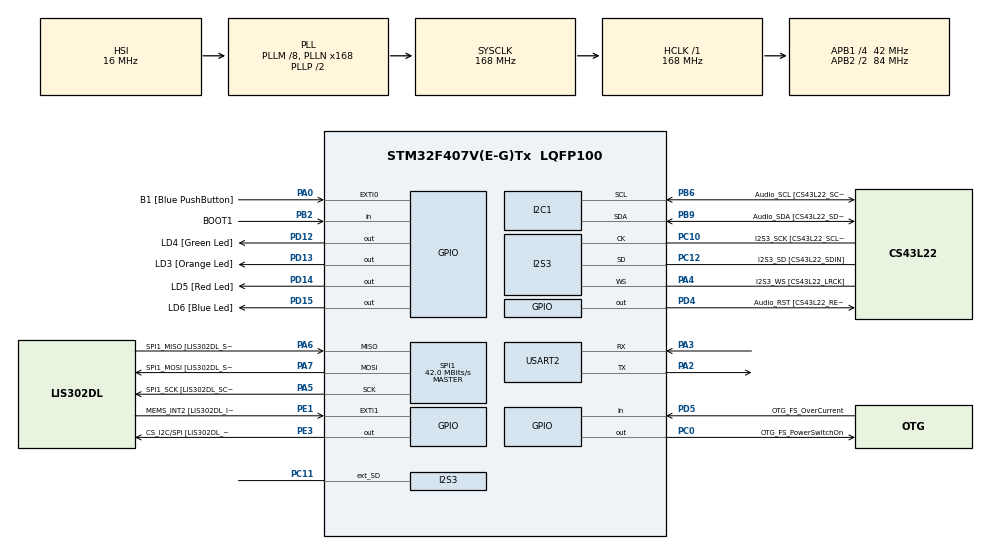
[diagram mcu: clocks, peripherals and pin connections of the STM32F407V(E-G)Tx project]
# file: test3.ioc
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I2S3.ErrorAudioFreq=0.15 %
I2S3.FullDuplexMode=I2S_FULLDUPLEXMODE_ENABLE
I2S3.Instance=SPI$Index
I2S3.RealAudioFreq=8.012 KHz
I2S3.VirtualMode=I2S_MODE_MASTER
Mcu.Family=STM32F4
Mcu.Name=STM32F407V(E-G)Tx
Mcu.Package=LQFP100
NVIC.PriorityGroup=NVIC_PRIORITYGROUP_0
NVIC.RCC_IRQn=true\:0\:0\:false\:false\:true\:true
PA0-WKUP.GPIO_Label=B1 [Blue PushButton]
PA0-WKUP.Signal=GPXTI0
PA10.GPIO_Label=OTG_FS_ID
PA10.GPIO_Mode=GPIO_MODE_AF_PP
PA10.GPIO_PuPd=GPIO_NOPULL
PA10.GPIO_Speed=GPIO_SPEED_FREQ_LOW
PA10.Signal=USB_OTG_FS_ID
PA11.GPIO_Label=OTG_FS_DM
PA11.GPIO_Mode=GPIO_MODE_AF_PP
PA11.GPIO_PuPd=GPIO_NOPULL
PA11.GPIO_Speed=GPIO_SPEED_FREQ_LOW
PA11.Signal=USB_OTG_FS_DM
PA12.GPIO_Label=OTG_FS_DP
PA12.GPIO_Mode=GPIO_MODE_AF_PP
PA12.GPIO_PuPd=GPIO_NOPULL
PA12.GPIO_Speed=GPIO_SPEED_FREQ_LOW
PA12.Signal=USB_OTG_FS_DP
PA13.GPIO_Label=SWDIO
PA13.Signal=SYS_JTMS-SWDIO
PA14.GPIO_Label=SWCLK
PA14.Signal=SYS_JTCK-SWCLK
PA2.Mode=Asynchronous
PA2.Signal=USART2_TX
PA3.Mode=Asynchronous
PA3.Signal=USART2_RX
PA4.GPIO_Label=I2S3_WS [CS43L22_LRCK]
PA4.GPIO_Mode=GPIO_MODE_AF_PP
PA4.GPIO_PuPd=GPIO_NOPULL
PA4.GPIO_Speed=GPIO_SPEED_FREQ_LOW
PA4.Mode=Full_Duplex_Master
PA4.Signal=I2S3_WS
PA5.GPIO_Label=SPI1_SCK [LIS302DL_SCL/SPC]
PA5.GPIO_Mode=GPIO_MODE_AF_PP
PA5.GPIO_PuPd=GPIO_NOPULL
PA5.GPIO_Speed=GPIO_SPEED_FREQ_LOW
PA5.Mode=Full_Duplex_Master
PA5.Signal=SPI1_SCK
PA6.GPIO_Label=SPI1_MISO [LIS302DL_SDO]
PA6.GPIO_Mode=GPIO_MODE_AF_PP
PA6.GPIO_PuPd=GPIO_NOPULL
PA6.GPIO_Speed=GPIO_SPEED_FREQ_LOW
PA6.Mode=Full_Duplex_Master
PA6.Signal=SPI1_MISO
PA7.GPIO_Label=SPI1_MOSI [LIS302DL_SDA/SDI/SDO]
PA7.GPIO_Mode=GPIO_MODE_AF_PP
PA7.GPIO_PuPd=GPIO_NOPULL
PA7.GPIO_Speed=GPIO_SPEED_FREQ_LOW
PA7.Mode=Full_Duplex_Master
PA7.Signal=SPI1_MOSI
PA9.GPIO_Label=VBUS_FS
PA9.GPIO_Mode=GPIO_MODE_INPUT
PA9.GPIO_PuPd=GPIO_NOPULL
PA9.Signal=USB_OTG_FS_VBUS
PB10.GPIO_Label=CLK_IN [MP45DT02_CLK]
PB10.GPIO_Mode=GPIO_MODE_AF_PP
PB10.GPIO_PuPd=GPIO_NOPULL
PB10.GPIO_Speed=GPIO_SPEED_FREQ_LOW
PB10.Signal=I2S2_CK
PB2.GPIO_Label=BOOT1
PB2.GPIO_Mode=GPIO_MODE_INPUT
PB2.GPIO_PuPd=GPIO_NOPULL
PB2.Signal=GPIO_Input
PB3.GPIO_Label=SWO
PB3.Signal=SYS_JTDO-SWO
PB6.GPIO_Label=Audio_SCL [CS43L22_SCL]
PB6.GPIO_Mode=GPIO_MODE_AF_OD
PB6.GPIO_PuPd=GPIO_NOPULL
PB6.GPIO_Speed=GPIO_SPEED_FREQ_LOW
PB6.Mode=I2C
PB6.Signal=I2C1_SCL
PB9.GPIO_Label=Audio_SDA [CS43L22_SDA]
PB9.GPIO_Mode=GPIO_MODE_AF_OD
PB9.GPIO_PuPd=GPIO_NOPULL
PB9.GPIO_Speed=GPIO_SPEED_FREQ_LOW
PB9.Mode=I2C
PB9.Signal=I2C1_SDA
PC0.GPIO_Label=OTG_FS_PowerSwitchOn
PC0.GPIO_PuPd=GPIO_NOPULL
PC0.GPIO_Speed=GPIO_SPEED_FREQ_LOW
PC0.PinState=GPIO_PIN_SET
PC0.Signal=GPIO_Output
PC10.GPIO_Label=I2S3_SCK [CS43L22_SCLK]
PC10.GPIO_Mode=GPIO_MODE_AF_PP
PC10.GPIO_PuPd=GPIO_NOPULL
PC10.GPIO_Speed=GPIO_SPEED_FREQ_LOW
PC10.Mode=Full_Duplex_Master
PC10.Signal=I2S3_CK
PC11.Mode=Full_Duplex_Master
PC11.Signal=I2S3_ext_SD
PC12.GPIO_Label=I2S3_SD [CS43L22_SDIN]
PC12.GPIO_Mode=GPIO_MODE_AF_PP
PC12.GPIO_PuPd=GPIO_NOPULL
PC12.GPIO_Speed=GPIO_SPEED_FREQ_LOW
PC12.Mode=Full_Duplex_Master
PC12.Signal=I2S3_SD
PC14-OSC32_IN.GPIO_Label=PC14-OSC32_IN
PC14-OSC32_IN.Signal=RCC_OSC32_IN
PC15-OSC32_OUT.GPIO_Label=PC15-OSC32_OUT
PC15-OSC32_OUT.Signal=RCC_OSC32_OUT
PC3.GPIO_Label=PDM_OUT [MP45DT02_DOUT]
PC3.GPIO_Mode=GPIO_MODE_AF_PP
PC3.GPIO_PuPd=GPIO_NOPULL
PC3.GPIO_Speed=GPIO_SPEED_FREQ_LOW
PC3.Signal=I2S2_SD
PC7.GPIO_Label=I2S3_MCK [CS43L22_MCLK]
PC7.GPIO_Mode=GPIO_MODE_AF_PP
PC7.GPIO_PuPd=GPIO_NOPULL
PC7.GPIO_Speed=GPIO_SPEED_FREQ_LOW
PC7.Signal=I2S3_MCK
PD12.GPIO_Label=LD4 [Green Led]
PD12.GPIO_PuPd=GPIO_NOPULL
PD12.GPIO_Speed=GPIO_SPEED_FREQ_LOW
PD12.Signal=GPIO_Output
PD13.GPIO_Label=LD3 [Orange Led]
PD13.GPIO_PuPd=GPIO_NOPULL
PD13.GPIO_Speed=GPIO_SPEED_FREQ_LOW
PD13.Signal=GPIO_Output
PD14.GPIO_Label=LD5 [Red Led]
PD14.GPIO_PuPd=GPIO_NOPULL
PD14.GPIO_Speed=GPIO_SPEED_FREQ_LOW
PD14.Signal=GPIO_Output
PD15.GPIO_Label=LD6 [Blue Led]
PD15.GPIO_PuPd=GPIO_NOPULL
PD15.GPIO_Speed=GPIO_SPEED_FREQ_LOW
PD15.Signal=GPIO_Output
PD4.GPIO_Label=Audio_RST [CS43L22_RESET]
PD4.GPIO_PuPd=GPIO_NOPULL
PD4.GPIO_Speed=GPIO_SPEED_FREQ_LOW
PD4.Signal=GPIO_Output
PD5.GPIO_Label=OTG_FS_OverCurrent
PD5.GPIO_Mode=GPIO_MODE_INPUT
PD5.GPIO_PuPd=GPIO_NOPULL
PD5.Signal=GPIO_Input
PE1.GPIO_Label=MEMS_INT2 [LIS302DL_INT2]
PE1.GPIO_ModeDefaultEXTI=GPIO_MODE_EVT_RISING
PE1.GPIO_PuPd=GPIO_NOPULL
PE1.Signal=GPXTI1
PE3.GPIO_Label=CS_I2C/SPI [LIS302DL_CS_I2C/SPI]
PE3.GPIO_PuPd=GPIO_NOPULL
PE3.GPIO_Speed=GPIO_SPEED_FREQ_LOW
PE3.Signal=GPIO_Output
PH0-OSC_IN.GPIO_Label=PH0-OSC_IN
PH0-OSC_IN.Signal=RCC_OSC_IN
PH1-OSC_OUT.GPIO_Label=PH1-OSC_OUT
PH1-OSC_OUT.Signal=RCC_OSC_OUT
ProjectManager.HeapSize=0x200
ProjectManager.StackSize=0x400
ProjectManager.TargetToolchain=SW4STM32
RCC.48MHZClocksFreq_Value=48000000
RCC.AHBFreq_Value=168000000
RCC.APB1CLKDivider=RCC_HCLK_DIV4
RCC.APB1Freq_Value=42000000
RCC.APB1TimFreq_Value=84000000
RCC.APB2CLKDivider=RCC_HCLK_DIV2
RCC.APB2Freq_Value=84000000
RCC.APB2TimFreq_Value=168000000
RCC.CortexFreq_Value=168000000
RCC.HCLKFreq_Value=168000000
RCC.HSE_VALUE=8000000
RCC.HSI_VALUE=16000000
RCC.LSE_VALUE=32768
RCC.PLLI2SN=50
RCC.PLLM=8
RCC.PLLN=168
RCC.PLLQ=7
RCC.SYSCLKFreq_VALUE=168000000
RCC.SYSCLKSource=RCC_SYSCLKSOURCE_PLLCLK
RCC.VCOOutputFreq_Value=336000000
SPI1.CalculateBaudRate=42.0 MBits/s
SPI1.Direction=SPI_DIRECTION_2LINES
SPI1.Mode=SPI_MODE_MASTER
SPI1.VirtualType=VM_MASTER
USART2.VirtualMode=VM_ASYNC
board=STM32F4DISCOVERY

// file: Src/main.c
/**
  ******************************************************************************
  * File Name          : main.c
  * Description        : Main program body
  ******************************************************************************
  ** This notice applies to any and all portions of this file
  * that are not between comment pairs USER CODE BEGIN and
  * USER CODE END. Other portions of this file, whether
  * inserted by the user or by software development tools
  * are owned by their respective copyright owners.
  *
  * COPYRIGHT(c) 2017 STMicroelectronics
  *
  * Redistribution and use in source and binary forms, with or without modification,
  * are permitted provided that the following conditions are met:
  *   1. Redistributions of source code must retain the above copyright notice,
  *      this list of conditions and the following disclaimer.
  *   2. Redistributions in binary form must reproduce the above copyright notice,
  *      this list of conditions and the following disclaimer in the documentation
  *      and/or other materials provided with the distribution.
  *   3. Neither the name of STMicroelectronics nor the names of its contributors
  *      may be used to endorse or promote products derived from this software
  *      without specific prior written permission.
  *
  * THIS SOFTWARE IS PROVIDED BY THE COPYRIGHT HOLDERS AND CONTRIBUTORS "AS IS"
  * AND ANY EXPRESS OR IMPLIED WARRANTIES, INCLUDING, BUT NOT LIMITED TO, THE
  * IMPLIED WARRANTIES OF MERCHANTABILITY AND FITNESS FOR A PARTICULAR PURPOSE ARE
  * DISCLAIMED. IN NO EVENT SHALL THE COPYRIGHT HOLDER OR CONTRIBUTORS BE LIABLE
  * FOR ANY DIRECT, INDIRECT, INCIDENTAL, SPECIAL, EXEMPLARY, OR CONSEQUENTIAL
  * DAMAGES (INCLUDING, BUT NOT LIMITED TO, PROCUREMENT OF SUBSTITUTE GOODS OR
  * SERVICES; LOSS OF USE, DATA, OR PROFITS; OR BUSINESS INTERRUPTION) HOWEVER
  * CAUSED AND ON ANY THEORY OF LIABILITY, WHETHER IN CONTRACT, STRICT LIABILITY,
  * OR TORT (INCLUDING NEGLIGENCE OR OTHERWISE) ARISING IN ANY WAY OUT OF THE USE
  * OF THIS SOFTWARE, EVEN IF ADVISED OF THE POSSIBILITY OF SUCH DAMAGE.
  *
  ******************************************************************************
  */

#include "main.h"
#include "stm32f4xx_hal.h"
#include "stm32f4_discovery_accelerometer.h"
#include "string.h"

I2C_HandleTypeDef hi2c1;

I2S_HandleTypeDef hi2s3;

SPI_HandleTypeDef hspi1;

UART_HandleTypeDef huart2;

/* USER CODE BEGIN PV */
/* Private variables ---------------------------------------------------------*/

/* USER CODE END PV */

void SystemClock_Config(void);
static void MX_GPIO_Init(void);
static void MX_USART2_UART_Init(void);
static void MX_SPI1_Init(void);
static void MX_I2C1_Init(void);
static void MX_I2S3_Init(void);

/* USER CODE BEGIN PFP */
/* Private function prototypes -----------------------------------------------*/

/* USER CODE END PFP */

/* USER CODE BEGIN 0 */
uint8_t cnt = 0 ;

/* USER CODE END 0 */

int main(void)
{

  /* USER CODE BEGIN 1 */
	int16_t xyz[3]= {0};
  /* USER CODE END 1 */

  /* MCU Configuration----------------------------------------------------------*/

  /* Reset of all peripherals, Initializes the Flash interface and the Systick. */
  HAL_Init();

  /* Configure the system clock */
  SystemClock_Config();

  /* Initialize all configured peripherals */
  MX_GPIO_Init();
  MX_USART2_UART_Init();
  MX_SPI1_Init();
  MX_I2C1_Init();
  MX_I2S3_Init();

  /* USER CODE BEGIN 2 */
  BSP_ACCELERO_Init();
  char data[20] ;
  char wait = 'w';

  uint8_t ice ;
  uint8_t dataIn[2]="12";
  uint8_t Test[] = "one\n"; //Data to send
  uint8_t Test1[5];
  /* USER CODE END 2 */

  /* Infinite loop */
  while (1)
  {

  /* USER CODE BEGIN 3 */
	//BSP_ACCELERO_GetXYZ(&xyz);

	  BSP_ACCELERO_GetXYZ(&xyz);
	  	//"[x, y, z]"
	  sprintf(data,"[%d,%d,%d]",xyz[0],xyz[1],xyz[2]);
	  //sprintf(data,"%d",xyz[0]%10);
	  int len = strlen(data);
	  //int len = strlen(data);

	  if(cnt < 10){
	  	  HAL_UART_Transmit(&huart2,data,len,100);
	  	  cnt = cnt + 1;
	  }else{
		  if(cnt == 10){
				  HAL_UART_Transmit(&huart2,&wait,1,100);
				  cnt = 11;
		  }
		  if(HAL_UART_Receive(&huart2,dataIn,1,100)==HAL_OK){
			  	  cnt = 0;
		  }

	  }
	  //fast ORANGE
	  if(dataIn[0] == '['){
		 HAL_GPIO_TogglePin(GPIOD,GPIO_PIN_13);
		 HAL_GPIO_WritePin(GPIOD,GPIO_PIN_12,0);
		 HAL_GPIO_WritePin(GPIOD,GPIO_PIN_15,0);

	  }
	  //slow BLUE
	  else if(dataIn[0] == ']'){
		  HAL_GPIO_TogglePin(GPIOD,GPIO_PIN_15);
		  HAL_GPIO_WritePin(GPIOD,GPIO_PIN_13,0);
		  HAL_GPIO_WritePin(GPIOD,GPIO_PIN_12,0);
	  }
	  //normal GREEN
	  else {
		  HAL_GPIO_TogglePin(GPIOD,GPIO_PIN_12);
		  HAL_GPIO_WritePin(GPIOD,GPIO_PIN_15,0);
		  HAL_GPIO_WritePin(GPIOD,GPIO_PIN_13,0);
	  }

	  HAL_Delay(100);
	  //HAL_UART_Receive(&huart2,dataIn,1,1000);

//0,1,2,-1
//Normal,Quick,

  /* USER CODE END 3 */
  }
}

/** System Clock Configuration
*/
void SystemClock_Config(void)
{

  RCC_OscInitTypeDef RCC_OscInitStruct;
  RCC_ClkInitTypeDef RCC_ClkInitStruct;
  RCC_PeriphCLKInitTypeDef PeriphClkInitStruct;

    /**Configure the main internal regulator output voltage
    */
  __HAL_RCC_PWR_CLK_ENABLE();

  __HAL_PWR_VOLTAGESCALING_CONFIG(PWR_REGULATOR_VOLTAGE_SCALE1);

    /**Initializes the CPU, AHB and APB busses clocks
    */
  RCC_OscInitStruct.OscillatorType = RCC_OSCILLATORTYPE_HSI;
  RCC_OscInitStruct.HSIState = RCC_HSI_ON;
  RCC_OscInitStruct.HSICalibrationValue = 16;
  RCC_OscInitStruct.PLL.PLLState = RCC_PLL_ON;
  RCC_OscInitStruct.PLL.PLLSource = RCC_PLLSOURCE_HSI;
  RCC_OscInitStruct.PLL.PLLM = 8;
  RCC_OscInitStruct.PLL.PLLN = 168;
  RCC_OscInitStruct.PLL.PLLP = RCC_PLLP_DIV2;
  RCC_OscInitStruct.PLL.PLLQ = 7;
  if (HAL_RCC_OscConfig(&RCC_OscInitStruct) != HAL_OK)
  {
    _Error_Handler(__FILE__, __LINE__);
  }

    /**Initializes the CPU, AHB and APB busses clocks
    */
  RCC_ClkInitStruct.ClockType = RCC_CLOCKTYPE_HCLK|RCC_CLOCKTYPE_SYSCLK
                              |RCC_CLOCKTYPE_PCLK1|RCC_CLOCKTYPE_PCLK2;
  RCC_ClkInitStruct.SYSCLKSource = RCC_SYSCLKSOURCE_PLLCLK;
  RCC_ClkInitStruct.AHBCLKDivider = RCC_SYSCLK_DIV1;
  RCC_ClkInitStruct.APB1CLKDivider = RCC_HCLK_DIV4;
  RCC_ClkInitStruct.APB2CLKDivider = RCC_HCLK_DIV2;

  if (HAL_RCC_ClockConfig(&RCC_ClkInitStruct, FLASH_LATENCY_5) != HAL_OK)
  {
    _Error_Handler(__FILE__, __LINE__);
  }

  PeriphClkInitStruct.PeriphClockSelection = RCC_PERIPHCLK_I2S;
  PeriphClkInitStruct.PLLI2S.PLLI2SN = 50;
  PeriphClkInitStruct.PLLI2S.PLLI2SR = 2;
  if (HAL_RCCEx_PeriphCLKConfig(&PeriphClkInitStruct) != HAL_OK)
  {
    _Error_Handler(__FILE__, __LINE__);
  }

    /**Configure the Systick interrupt time
    */
  HAL_SYSTICK_Config(HAL_RCC_GetHCLKFreq()/1000);

    /**Configure the Systick
    */
  HAL_SYSTICK_CLKSourceConfig(SYSTICK_CLKSOURCE_HCLK);

  /* SysTick_IRQn interrupt configuration */
  HAL_NVIC_SetPriority(SysTick_IRQn, 0, 0);
}

/* I2C1 init function */
static void MX_I2C1_Init(void)
{

  hi2c1.Instance = I2C1;
  hi2c1.Init.ClockSpeed = 100000;
  hi2c1.Init.DutyCycle = I2C_DUTYCYCLE_2;
  hi2c1.Init.OwnAddress1 = 0;
  hi2c1.Init.AddressingMode = I2C_ADDRESSINGMODE_7BIT;
  hi2c1.Init.DualAddressMode = I2C_DUALADDRESS_DISABLE;
  hi2c1.Init.OwnAddress2 = 0;
  hi2c1.Init.GeneralCallMode = I2C_GENERALCALL_DISABLE;
  hi2c1.Init.NoStretchMode = I2C_NOSTRETCH_DISABLE;
  if (HAL_I2C_Init(&hi2c1) != HAL_OK)
  {
    _Error_Handler(__FILE__, __LINE__);
  }

}

/* I2S3 init function */
static void MX_I2S3_Init(void)
{

  hi2s3.Instance = SPI3;
  hi2s3.Init.Mode = I2S_MODE_MASTER_TX;
  hi2s3.Init.Standard = I2S_STANDARD_PHILIPS;
  hi2s3.Init.DataFormat = I2S_DATAFORMAT_16B;
  hi2s3.Init.MCLKOutput = I2S_MCLKOUTPUT_DISABLE;
  hi2s3.Init.AudioFreq = I2S_AUDIOFREQ_8K;
  hi2s3.Init.CPOL = I2S_CPOL_LOW;
  hi2s3.Init.ClockSource = I2S_CLOCK_PLL;
  hi2s3.Init.FullDuplexMode = I2S_FULLDUPLEXMODE_ENABLE;
  if (HAL_I2S_Init(&hi2s3) != HAL_OK)
  {
    _Error_Handler(__FILE__, __LINE__);
  }

}

/* SPI1 init function */
static void MX_SPI1_Init(void)
{

  /* SPI1 parameter configuration*/
  hspi1.Instance = SPI1;
  hspi1.Init.Mode = SPI_MODE_MASTER;
  hspi1.Init.Direction = SPI_DIRECTION_2LINES;
  hspi1.Init.DataSize = SPI_DATASIZE_8BIT;
  hspi1.Init.CLKPolarity = SPI_POLARITY_LOW;
  hspi1.Init.CLKPhase = SPI_PHASE_1EDGE;
  hspi1.Init.NSS = SPI_NSS_SOFT;
  hspi1.Init.BaudRatePrescaler = SPI_BAUDRATEPRESCALER_2;
  hspi1.Init.FirstBit = SPI_FIRSTBIT_MSB;
  hspi1.Init.TIMode = SPI_TIMODE_DISABLE;
  hspi1.Init.CRCCalculation = SPI_CRCCALCULATION_DISABLE;
  hspi1.Init.CRCPolynomial = 10;
  if (HAL_SPI_Init(&hspi1) != HAL_OK)
  {
    _Error_Handler(__FILE__, __LINE__);
  }

}

/* USART2 init function */
static void MX_USART2_UART_Init(void)
{

  huart2.Instance = USART2;
  huart2.Init.BaudRate = 115200;
  huart2.Init.WordLength = UART_WORDLENGTH_8B;
  huart2.Init.StopBits = UART_STOPBITS_1;
  huart2.Init.Parity = UART_PARITY_NONE;
  huart2.Init.Mode = UART_MODE_TX_RX;
  huart2.Init.HwFlowCtl = UART_HWCONTROL_NONE;
  huart2.Init.OverSampling = UART_OVERSAMPLING_16;
  if (HAL_UART_Init(&huart2) != HAL_OK)
  {
    _Error_Handler(__FILE__, __LINE__);
  }

}

/** Configure pins as
        * Analog
        * Input
        * Output
        * EVENT_OUT
        * EXTI
     PC3   ------> I2S2_SD
     PB10   ------> I2S2_CK
     PA9   ------> USB_OTG_FS_VBUS
     PA10   ------> USB_OTG_FS_ID
     PA11   ------> USB_OTG_FS_DM
     PA12   ------> USB_OTG_FS_DP
*/
static void MX_GPIO_Init(void)
{

  GPIO_InitTypeDef GPIO_InitStruct;

  /* GPIO Ports Clock Enable */
  __HAL_RCC_GPIOE_CLK_ENABLE();
  __HAL_RCC_GPIOC_CLK_ENABLE();
  __HAL_RCC_GPIOH_CLK_ENABLE();
  __HAL_RCC_GPIOA_CLK_ENABLE();
  __HAL_RCC_GPIOB_CLK_ENABLE();
  __HAL_RCC_GPIOD_CLK_ENABLE();

  /*Configure GPIO pin Output Level */
  HAL_GPIO_WritePin(CS_I2C_SPI_GPIO_Port, CS_I2C_SPI_Pin, GPIO_PIN_RESET);

  /*Configure GPIO pin Output Level */
  HAL_GPIO_WritePin(OTG_FS_PowerSwitchOn_GPIO_Port, OTG_FS_PowerSwitchOn_Pin, GPIO_PIN_SET);

  /*Configure GPIO pin Output Level */
  HAL_GPIO_WritePin(GPIOD, LD4_Pin|LD3_Pin|LD5_Pin|LD6_Pin
                          |Audio_RST_Pin, GPIO_PIN_RESET);

  /*Configure GPIO pin : CS_I2C_SPI_Pin */
  GPIO_InitStruct.Pin = CS_I2C_SPI_Pin;
  GPIO_InitStruct.Mode = GPIO_MODE_OUTPUT_PP;
  GPIO_InitStruct.Pull = GPIO_NOPULL;
  GPIO_InitStruct.Speed = GPIO_SPEED_FREQ_LOW;
  HAL_GPIO_Init(CS_I2C_SPI_GPIO_Port, &GPIO_InitStruct);

  /*Configure GPIO pin : OTG_FS_PowerSwitchOn_Pin */
  GPIO_InitStruct.Pin = OTG_FS_PowerSwitchOn_Pin;
  GPIO_InitStruct.Mode = GPIO_MODE_OUTPUT_PP;
  GPIO_InitStruct.Pull = GPIO_NOPULL;
  GPIO_InitStruct.Speed = GPIO_SPEED_FREQ_LOW;
  HAL_GPIO_Init(OTG_FS_PowerSwitchOn_GPIO_Port, &GPIO_InitStruct);

  /*Configure GPIO pin : PDM_OUT_Pin */
  GPIO_InitStruct.Pin = PDM_OUT_Pin;
  GPIO_InitStruct.Mode = GPIO_MODE_AF_PP;
  GPIO_InitStruct.Pull = GPIO_NOPULL;
  GPIO_InitStruct.Speed = GPIO_SPEED_FREQ_LOW;
  GPIO_InitStruct.Alternate = GPIO_AF5_SPI2;
  HAL_GPIO_Init(PDM_OUT_GPIO_Port, &GPIO_InitStruct);

  /*Configure GPIO pin : B1_Pin */
  GPIO_InitStruct.Pin = B1_Pin;
  GPIO_InitStruct.Mode = GPIO_MODE_IT_RISING;
  GPIO_InitStruct.Pull = GPIO_NOPULL;
  HAL_GPIO_Init(B1_GPIO_Port, &GPIO_InitStruct);

  /*Configure GPIO pin : BOOT1_Pin */
  GPIO_InitStruct.Pin = BOOT1_Pin;
  GPIO_InitStruct.Mode = GPIO_MODE_INPUT;
  GPIO_InitStruct.Pull = GPIO_NOPULL;
  HAL_GPIO_Init(BOOT1_GPIO_Port, &GPIO_InitStruct);

  /*Configure GPIO pin : CLK_IN_Pin */
  GPIO_InitStruct.Pin = CLK_IN_Pin;
  GPIO_InitStruct.Mode = GPIO_MODE_AF_PP;
  GPIO_InitStruct.Pull = GPIO_NOPULL;
  GPIO_InitStruct.Speed = GPIO_SPEED_FREQ_LOW;
  GPIO_InitStruct.Alternate = GPIO_AF5_SPI2;
  HAL_GPIO_Init(CLK_IN_GPIO_Port, &GPIO_InitStruct);

  /*Configure GPIO pins : LD4_Pin LD3_Pin LD5_Pin LD6_Pin
                           Audio_RST_Pin */
  GPIO_InitStruct.Pin = LD4_Pin|LD3_Pin|LD5_Pin|LD6_Pin
                          |Audio_RST_Pin;
  GPIO_InitStruct.Mode = GPIO_MODE_OUTPUT_PP;
  GPIO_InitStruct.Pull = GPIO_NOPULL;
  GPIO_InitStruct.Speed = GPIO_SPEED_FREQ_LOW;
  HAL_GPIO_Init(GPIOD, &GPIO_InitStruct);

  /*Configure GPIO pin : VBUS_FS_Pin */
  GPIO_InitStruct.Pin = VBUS_FS_Pin;
  GPIO_InitStruct.Mode = GPIO_MODE_INPUT;
  GPIO_InitStruct.Pull = GPIO_NOPULL;
  HAL_GPIO_Init(VBUS_FS_GPIO_Port, &GPIO_InitStruct);

  /*Configure GPIO pins : OTG_FS_ID_Pin OTG_FS_DM_Pin OTG_FS_DP_Pin */
  GPIO_InitStruct.Pin = OTG_FS_ID_Pin|OTG_FS_DM_Pin|OTG_FS_DP_Pin;
  GPIO_InitStruct.Mode = GPIO_MODE_AF_PP;
  GPIO_InitStruct.Pull = GPIO_NOPULL;
  GPIO_InitStruct.Speed = GPIO_SPEED_FREQ_LOW;
  GPIO_InitStruct.Alternate = GPIO_AF10_OTG_FS;
  HAL_GPIO_Init(GPIOA, &GPIO_InitStruct);

  /*Configure GPIO pin : OTG_FS_OverCurrent_Pin */
  GPIO_InitStruct.Pin = OTG_FS_OverCurrent_Pin;
  GPIO_InitStruct.Mode = GPIO_MODE_INPUT;
  GPIO_InitStruct.Pull = GPIO_NOPULL;
  HAL_GPIO_Init(OTG_FS_OverCurrent_GPIO_Port, &GPIO_InitStruct);

  /*Configure GPIO pin : MEMS_INT2_Pin */
  GPIO_InitStruct.Pin = MEMS_INT2_Pin;
  GPIO_InitStruct.Mode = GPIO_MODE_EVT_RISING;
  GPIO_InitStruct.Pull = GPIO_NOPULL;
  HAL_GPIO_Init(MEMS_INT2_GPIO_Port, &GPIO_InitStruct);

}

void _Error_Handler(char * file, int line)
{
  while(1)
  {
  }
}

/************************ (C) COPYRIGHT STMicroelectronics *****END OF FILE****/
